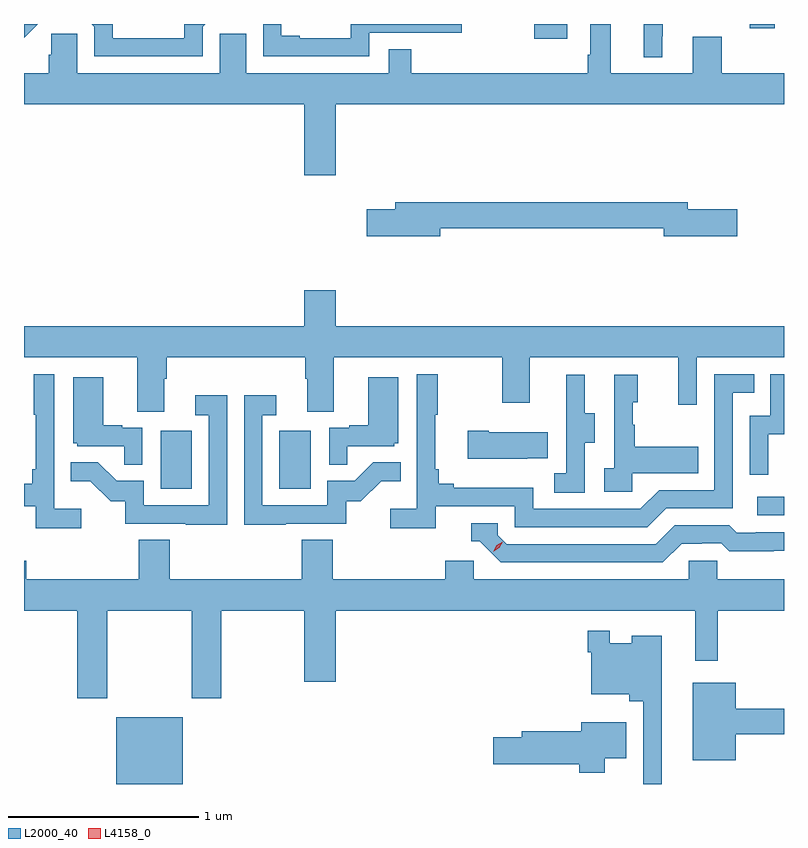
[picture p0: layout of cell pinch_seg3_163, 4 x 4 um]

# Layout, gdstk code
import gdstk
lib = gdstk.Library(unit=1e-6, precision=1e-09)
def R(c, l, rs):  # rectangles x0, y0, x1, y1
    for r in rs: c.add(gdstk.rectangle(r[:2], r[2:], *l))
def P(c, l, *ps):  # polygons
    for p in ps: c.add(gdstk.Polygon(p, *l))
L2000_40 = (2000, 40)
L4158_0 = (4158, 0)

pinch_seg3_163 = lib.new_cell('pinch_seg3_163')
R(pinch_seg3_163, L2000_40, [(1111.07,715.987,1111.42,716.338), (1114.443,717.402,1114.584,717.498), (1111.304,717.54,1111.468,717.847), (1111.928,717.54,1112.092,717.847), (1113.269,719.91,1113.442,719.987), (1114.403,719.964,1114.535,719.987)])
P(pinch_seg3_163, L2000_40, [(1111.524,719.973),(1111.538,719.987),(1111.428,719.987),(1111.428,719.913),(1111.051,719.913),(1111.051,719.987),(1110.94,719.987),(1110.954,719.973),(1110.954,719.817),(1111.524,719.817)],
  [(1110.656,719.987),(1110.584,719.987),(1110.584,719.915)],
  [(1113.943,719.923),(1113.947,719.923),(1113.947,719.987),(1113.845,719.987),(1113.845,719.813),(1113.943,719.813)],
  [(1112.4,719.94),(1112.887,719.94),(1112.887,719.987),(1112.304,719.987),(1112.304,719.913),(1112.035,719.913),(1112.035,719.926),(1111.939,719.926),(1111.939,719.987),(1111.842,719.987),(1111.842,719.817),(1112.4,719.817)],
  [(1112.224,719.564),(1114.584,719.564),(1114.584,719.728),(1114.256,719.728),(1114.256,719.92),(1114.103,719.92),(1114.103,719.728),(1113.673,719.728),(1113.673,719.987),(1113.563,719.987),(1113.563,719.824),(1113.551,719.824),(1113.551,719.728),(1112.621,719.728),(1112.621,719.855),(1112.505,719.855),(1112.505,719.728),(1111.753,719.728),(1111.753,719.936),(1111.614,719.936),(1111.614,719.728),(1110.864,719.728),(1110.864,719.936),(1110.727,719.936),(1110.727,719.826),(1110.713,719.826),(1110.713,719.728),(1110.584,719.728),(1110.584,719.564),(1112.06,719.564),(1112.06,719.19),(1112.224,719.19)],
  [(1112.776,718.912),(1113.95,718.912),(1113.95,718.87),(1114.339,718.87),(1114.339,719.012),(1114.078,719.012),(1114.078,719.048),(1112.537,719.048),(1112.537,719.012),(1112.388,719.012),(1112.388,718.87),(1112.776,718.87)],
  [(1111.321,718.12),(1111.334,718.12),(1111.334,718.232),(1112.063,718.232),(1112.063,718.12),(1112.075,718.12),(1112.075,717.946),(1112.215,717.946),(1112.215,718.232),(1113.1,718.232),(1113.1,717.993),(1113.247,717.993),(1113.247,718.232),(1114.028,718.232),(1114.028,717.984),(1114.125,717.984),(1114.125,718.232),(1114.584,718.232),(1114.584,718.396),(1112.224,718.396),(1112.224,718.585),(1112.06,718.585),(1112.06,718.396),(1110.584,718.396),(1110.584,718.232),(1111.181,718.232),(1111.181,717.946),(1111.321,717.946)],
  [(1110.886,717.436),(1110.744,717.436),(1110.744,718.144),(1110.636,718.144),(1110.636,717.931),(1110.647,717.931),(1110.647,717.643),(1110.628,717.643),(1110.628,717.566),(1110.584,717.566),(1110.584,717.45),(1110.647,717.45),(1110.647,717.334),(1110.886,717.334)],
  [(1112.75,717.45),(1113.168,717.45),(1113.168,717.339),(1113.865,717.339),(1113.964,717.438),(1114.314,717.438),(1114.314,718.047),(1114.427,718.047),(1114.427,718.143),(1114.218,718.143),(1114.218,717.534),(1113.927,717.534),(1113.828,717.435),(1113.264,717.435),(1113.264,717.547),(1112.845,717.547),(1112.845,717.566),(1112.768,717.566),(1112.768,717.643),(1112.749,717.643),(1112.749,717.931),(1112.761,717.931),(1112.761,718.144),(1112.652,718.144),(1112.652,717.436),(1112.511,717.436),(1112.511,717.334),(1112.75,717.334)],
  [(1114.5,717.827),(1114.584,717.827),(1114.584,718.143),(1114.512,718.143),(1114.512,717.924),(1114.404,717.924),(1114.404,717.615),(1114.5,717.615)],
  [(1113.786,717.623),(1114.133,717.623),(1114.133,717.763),(1113.799,717.763),(1113.799,717.878),(1113.789,717.878),(1113.789,717.996),(1113.814,717.996),(1113.814,718.141),(1113.69,718.141),(1113.69,717.65),(1113.639,717.65),(1113.639,717.525),(1113.786,717.525)],
  [(1113.534,717.784),(1113.589,717.784),(1113.589,717.939),(1113.535,717.939),(1113.535,718.141),(1113.437,718.141),(1113.437,717.927),(1113.438,717.927),(1113.438,717.623),(1113.375,717.623),(1113.375,717.52),(1113.534,717.52)],
  [(1112.285,717.765),(1112.532,717.765),(1112.532,717.78),(1112.554,717.78),(1112.554,718.129),(1112.396,718.129),(1112.396,717.874),(1112.297,717.874),(1112.297,717.861),(1112.19,717.861),(1112.19,717.667),(1112.285,717.667)],
  [(1111.206,717.861),(1111.1,717.861),(1111.1,717.874),(1111,717.874),(1111,718.129),(1110.842,718.129),(1110.842,717.78),(1110.864,717.78),(1110.864,717.765),(1111.111,717.765),(1111.111,717.667),(1111.206,717.667)],
  [(1111.961,717.357),(1112.28,717.357),(1112.28,717.474),(1112.356,717.474),(1112.463,717.581),(1112.567,717.581),(1112.567,717.68),(1112.423,717.68),(1112.325,717.582),(1112.181,717.582),(1112.181,717.453),(1111.839,717.453),(1111.839,717.927),(1111.912,717.927),(1111.912,718.033),(1111.743,718.033),(1111.743,717.352),(1111.961,717.352)],
  [(1111.653,718.033),(1111.485,718.033),(1111.485,717.927),(1111.557,717.927),(1111.557,717.453),(1111.215,717.453),(1111.215,717.582),(1111.071,717.582),(1110.973,717.68),(1110.829,717.68),(1110.829,717.581),(1110.933,717.581),(1111.04,717.474),(1111.117,717.474),(1111.117,717.357),(1111.435,717.357),(1111.435,717.352),(1111.653,717.352)],
  [(1113.233,717.701),(1113.341,717.701),(1113.341,717.838),(1113.031,717.838),(1113.031,717.846),(1112.919,717.846),(1112.919,717.698),(1113.233,717.698)],
  [(1114.045,717.252),(1114.152,717.252),(1114.152,717.255),(1114.255,717.255),(1114.297,717.213),(1114.53,717.213),(1114.53,717.215),(1114.584,717.215),(1114.584,717.312),(1114.435,717.312),(1114.435,717.309),(1114.336,717.309),(1114.297,717.348),(1114.008,717.348),(1113.909,717.249),(1113.126,717.249),(1113.078,717.297),(1113.078,717.36),(1112.939,717.36),(1112.939,717.264),(1112.982,717.264),(1113.093,717.153),(1113.946,717.153)],
  [(1111.468,716.439),(1111.623,716.439),(1111.623,716.9),(1112.06,716.9),(1112.06,716.526),(1112.224,716.526),(1112.224,716.9),(1114.118,716.9),(1114.118,716.637),(1114.235,716.637),(1114.235,716.9),(1114.584,716.9),(1114.584,717.064),(1114.233,717.064),(1114.233,717.162),(1114.083,717.162),(1114.083,717.064),(1112.952,717.064),(1112.952,717.162),(1112.801,717.162),(1112.801,717.064),(1112.21,717.064),(1112.21,717.272),(1112.045,717.272),(1112.045,717.064),(1111.352,717.064),(1111.352,717.272),(1111.187,717.272),(1111.187,717.064),(1110.596,717.064),(1110.596,717.162),(1110.584,717.162),(1110.584,716.9),(1110.863,716.9),(1110.863,716.439),(1111.023,716.439),(1111.023,716.9),(1111.468,716.9)],
  [(1113.94,716.767),(1113.782,716.767),(1113.782,716.728),(1113.666,716.728),(1113.666,716.794),(1113.55,716.794),(1113.55,716.681),(1113.57,716.681),(1113.57,716.459),(1113.77,716.459),(1113.77,716.423),(1113.843,716.423),(1113.843,715.987),(1113.94,715.987)],
  [(1114.33,716.248),(1114.584,716.248),(1114.584,716.384),(1114.33,716.384),(1114.33,716.521),(1114.103,716.521),(1114.103,716.111),(1114.33,716.111)],
  [(1113.64,716.123),(1113.754,716.123),(1113.754,716.311),(1113.518,716.311),(1113.518,716.264),(1113.203,716.264),(1113.203,716.234),(1113.054,716.234),(1113.054,716.092),(1113.506,716.092),(1113.506,716.045),(1113.64,716.045)])
P(pinch_seg3_163, L4158_0, [(1113.055,717.21),(1113.055,717.21),(1113.072,717.243),(1113.103,717.263),(1113.103,717.263),(1113.103,717.262),(1113.086,717.23),(1113.055,717.21)])

lib.write_gds('pinch_seg3_163.gds')
